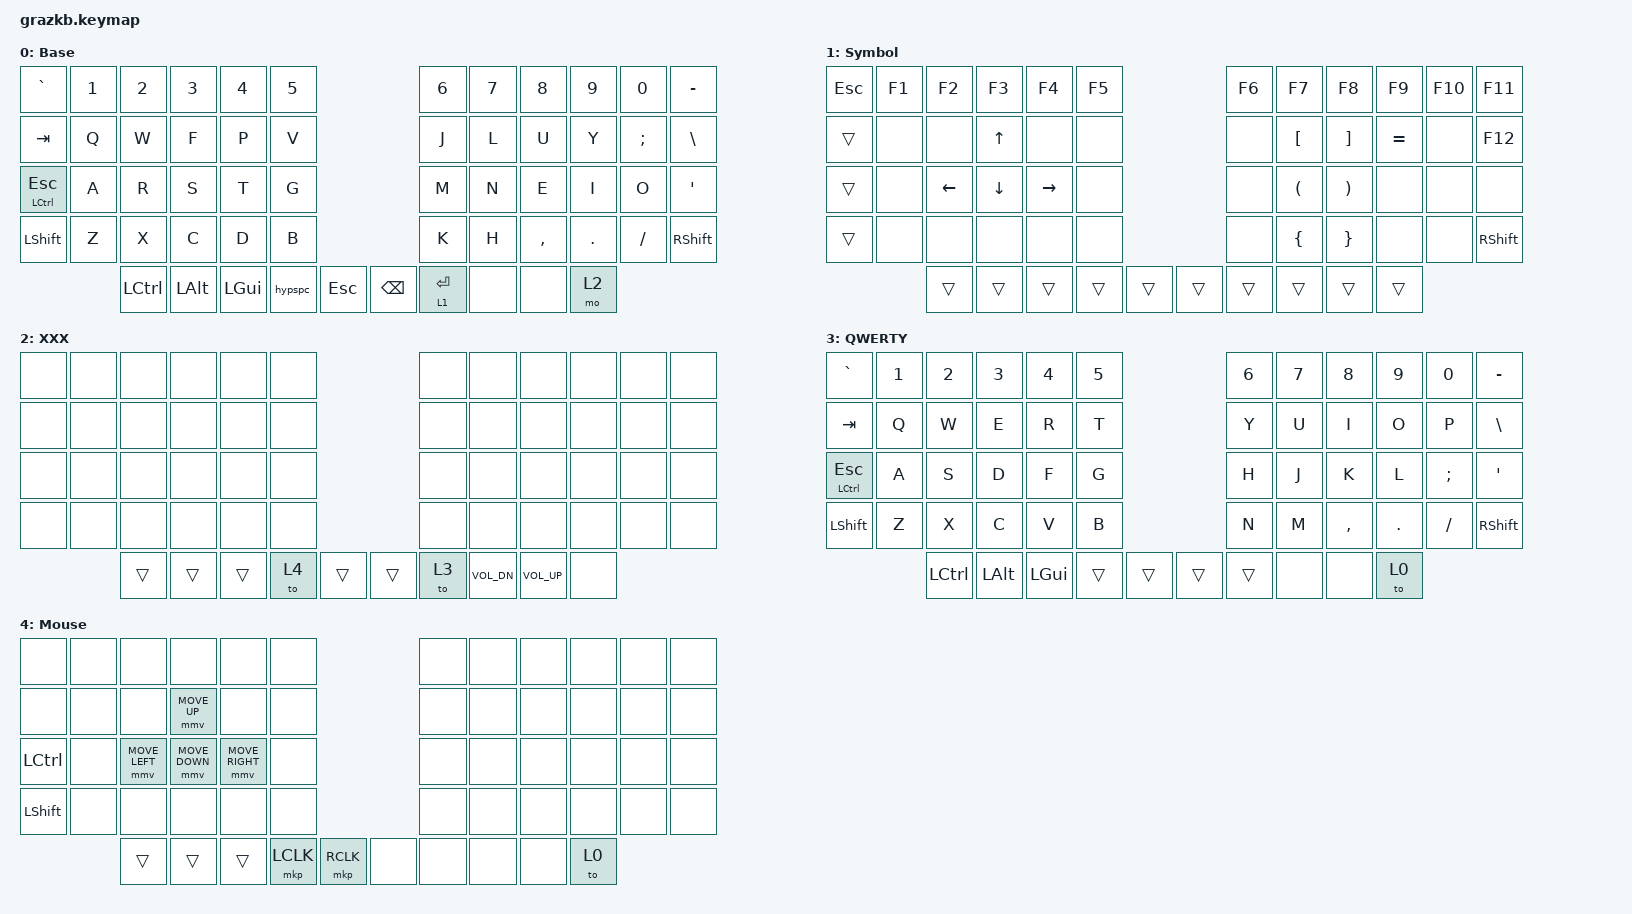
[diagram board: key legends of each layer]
/*
 * Copyright (c) 2021 The ZMK Contributors
 *
 * SPDX-License-Identifier: MIT
 */

#include <behaviors.dtsi>
#include <dt-bindings/zmk/keys.h>
#include <dt-bindings/zmk/outputs.h>
#include <dt-bindings/zmk/pointing.h>

// Increase the max mouse speed
#define ZMK_POINTING_DEFAULT_MOVE_VAL 1500

/ {
    behaviors {
        hypspc: hyper_space {
            compatible = "zmk,behavior-mod-morph";
            #binding-cells = <0>;
            bindings = <&kp SPACE>, <&kp LA(LC(LGUI))>;
            mods = <(MOD_LCTL)>;
            keep-mods = <(MOD_LCTL)>;
        };
        // Make layer tap hold-preferred.
        lt: layer_tap {
            compatible = "zmk,behavior-hold-tap";
            #binding-cells = <2>;
            tapping-term-ms = <200>;
            quick-tap-ms = <0>;
            flavor = "hold-preferred";
            bindings = <&mo>, <&kp>;
        };
    };
    keymap {
        compatible = "zmk,keymap";

        default_layer {
            /*
            * ┌───┬───┬───┬───┬───┬───┐                    ┌───┬───┬───┬───┬───┬───┐
            * │ ` │ 1 │ 2 │ 3 │ 4 │ 5 │                    │ 7 │ 7 │ 8 │ 9 │ 0 │ - │
            * ├───┼───┼───┼───┼───┼───┤                    ├───┼───┼───┼───┼───┼───┤
            * │ > │ q │ w │ f │ p │ v │                    │ j │ l │ u │ y │ ; │ \ │
            * ├───┼───┼───┼───┼───┼───┤                    ├───┼───┼───┼───┼───┼───┤
            * │ ^ │ a │ r │ s │ t │ g │                    │ m │ n │ e │ i │ o │ ' │
            * ├───┼───┼───┼───┼───┼───┤                    ├───┼───┼───┼───┼───┼───┤
            * │ s │ z │ x │ c │ d │ b │                    │ k │ h │ , │ . │ / │ s │
            * └───┴───┼───┼───┼───┼───┼───┬───┐    ┌───┬───┼───┼───┼───┼───┼───┴───┘
            *         │ x │ x │ x │   │ x │ x │    │ x │ x │   │ x │ x │ x │
            *         └───┴───┴───┘   └───┴───┘    └───┴───┘   └───┴───┴───┘
            */
            display-name = "Base";
            bindings = <
                &kp GRAVE     &kp N1       &kp N2      &kp N3   &kp N4     &kp N5                                        &kp N6      &kp N7     &kp N8      &kp N9      &kp N0      &kp MINUS
                &kp TAB       &kp Q        &kp W       &kp F    &kp P      &kp V                                         &kp J       &kp L      &kp U       &kp Y       &kp SEMI    &kp BSLH
                &mt LCTRL ESC &kp A        &kp R       &kp S    &kp T      &kp G                                         &kp M       &kp N      &kp E       &kp I       &kp O       &kp SQT
                &kp LSHFT     &kp Z        &kp X       &kp C    &kp D      &kp B                                         &kp K       &kp H      &kp COMMA   &kp DOT     &kp FSLH    &kp RSHFT
                                           &kp LCTRL   &kp LALT &kp LGUI          &hypspc &kp ESC &kp BSPC &lt 1 ENTER               &none      &none       &mo 2
            >;
        };
        symbol_layer {
            display-name = "Symbol";
            bindings = <
                &kp ESC      &kp F1        &kp F2      &kp F3   &kp F4     &kp F5                                        &kp F6      &kp F7     &kp F8      &kp F9      &kp F10     &kp F11
                &trans       &none         &none       &kp UP   &none      &none                                         &none       &kp LBKT   &kp RBKT    &kp EQUAL   &none       &kp F12
                &trans       &none         &kp LEFT    &kp DOWN &kp RIGHT  &none                                         &none       &kp LPAR   &kp RPAR    &none       &none       &none
                &trans       &none         &none       &none    &none      &none                                         &none       &kp LBRC   &kp RBRC    &none       &none       &kp RSHFT
                                           &trans      &trans   &trans             &trans  &trans  &trans   &trans                   &trans     &trans      &trans
            >;
        };
        layer_layer {
            display-name = "XXX";
            bindings = <
                &none        &none         &none       &none    &none      &none                                         &none       &none      &none       &none       &none       &none
                &none        &none         &none       &none    &none      &none                                         &none       &none      &none       &none       &none       &none
                &none        &none         &none       &none    &none      &none                                         &none       &none      &none       &none       &none       &none
                &none        &none         &none       &none    &none      &none                                         &none       &none      &none       &none       &none       &none
                                           &trans      &trans   &trans             &to 4   &trans  &trans   &to 3                    &kp K_VOL_DN &kp K_VOL_UP &none
            >;
        };
        qwerty_layer {
            display-name = "QWERTY";
            bindings = <
                &kp GRAVE     &kp N1       &kp N2      &kp N3   &kp N4     &kp N5                                        &kp N6      &kp N7     &kp N8      &kp N9      &kp N0      &kp MINUS
                &kp TAB       &kp Q        &kp W       &kp E    &kp R      &kp T                                         &kp Y       &kp U      &kp I       &kp O       &kp P       &kp BSLH
                &mt LCTRL ESC &kp A        &kp S       &kp D    &kp F      &kp G                                         &kp H       &kp J      &kp K       &kp L       &kp SEMI    &kp SQT
                &kp LSHFT     &kp Z        &kp X       &kp C    &kp V      &kp B                                         &kp N       &kp M      &kp COMMA   &kp DOT     &kp FSLH    &kp RSHFT
                                           &kp LCTRL   &kp LALT &kp LGUI           &trans  &trans  &trans   &trans                   &none      &none       &to 0
            >;
        };
        mouse_layer {
            display-name = "Mouse";
            bindings = <
                &none        &none         &none          &none          &none           &none                                      &none       &none      &none       &none       &none       &none
                &none        &none         &none          &mmv MOVE_UP   &none           &none                                      &none       &none      &none       &none       &none       &none
                &kp LCTRL    &none         &mmv MOVE_LEFT &mmv MOVE_DOWN &mmv MOVE_RIGHT &none                                      &none       &none      &none       &none       &none       &none
                &kp LSHFT    &none         &none          &none          &none           &none                                      &none       &none      &none       &none       &none       &none
                                           &trans         &trans         &trans                 &mkp LCLK &mkp RCLK &none &none                 &none      &none       &to 0
            >;
        };
    };
};
